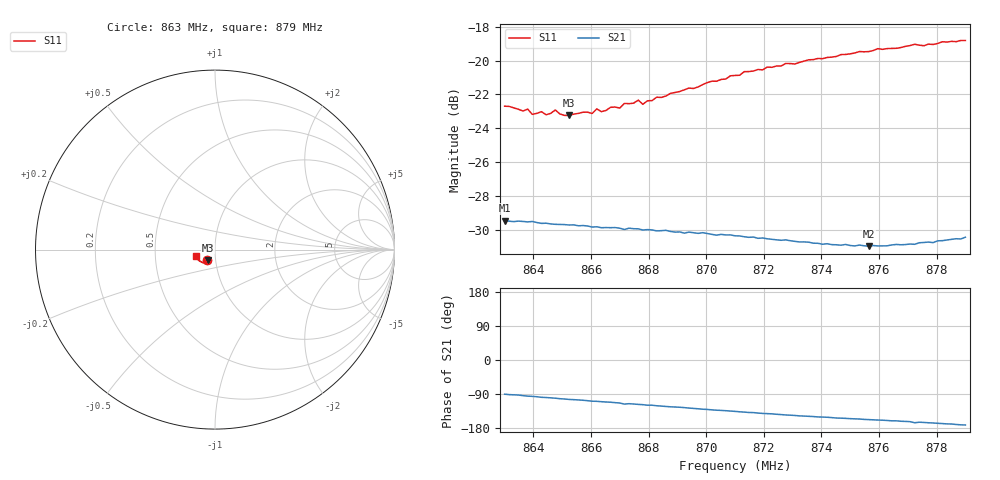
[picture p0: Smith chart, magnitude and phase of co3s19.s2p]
# HZ S RI R 50
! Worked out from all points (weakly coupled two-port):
!   101 points, 863 MHz to 879 MHz, reference 50 ohm
!   highest |S21| = -29.45 dB at 863 MHz (marker M1); lowest = -31.0 dB at 875.64 MHz (marker M2)
!   lowest |S11| = -23.2 dB at 865.24 MHz (marker M3), VSWR 1.15, Z = 46.1 - j5.34 ohm
!   |S11| at or under -10 dB: start of sweep to end of sweep
!   S12 and S22 are empty: the file has one direction only
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8.63e8  -0.0455 -0.0575  -0.00012 -0.0337  0 0  0 0
8.6364e8  -0.0416 -0.0575  -0.0024 -0.0334  0 0  0 0
8.638e8  -0.042 -0.0584  -0.0031 -0.0332  0 0  0 0
8.6396e8  -0.0411 -0.0558  -0.00348 -0.0333  0 0  0 0
8.6428e8  -0.0396 -0.0585  -0.00484 -0.0327  0 0  0 0
8.6444e8  -0.0391 -0.057  -0.00517 -0.0327  0 0  0 0
8.6476e8  -0.0395 -0.0595  -0.00615 -0.0322  0 0  0 0
8.6524e8  -0.0377 -0.0576  -0.00795 -0.0317  0 0  0 0
8.6572e8  -0.0389 -0.0586  -0.00907 -0.0313  0 0  0 0
8.6604e8  -0.0366 -0.0594  -0.0104 -0.0305  0 0  0 0
8.662e8  -0.0373 -0.0615  -0.0105 -0.0305  0 0  0 0
8.6636e8  -0.037 -0.0602  -0.011 -0.0301  0 0  0 0
8.67e8  -0.0366 -0.0625  -0.0127 -0.0293  0 0  0 0
8.6716e8  -0.0385 -0.064  -0.0141 -0.0284  0 0  0 0
8.6764e8  -0.0382 -0.0662  -0.0145 -0.0283  0 0  0 0
8.678e8  -0.0374 -0.0642  -0.0148 -0.0279  0 0  0 0
8.6844e8  -0.0394 -0.0671  -0.0165 -0.0268  0 0  0 0
8.71e8  -0.0518 -0.074  -0.0217 -0.0212  0 0  0 0
8.7372e8  -0.0713 -0.071  -0.0248 -0.0148  0 0  0 0
8.7564e8  -0.0851 -0.0637  -0.0261 -0.0109  0 0  0 0
8.7644e8  -0.0918 -0.0581  -0.0269 -0.00954  0 0  0 0
8.79e8  -0.108 -0.0384  -0.0297 -0.00444  0 0  0 0
